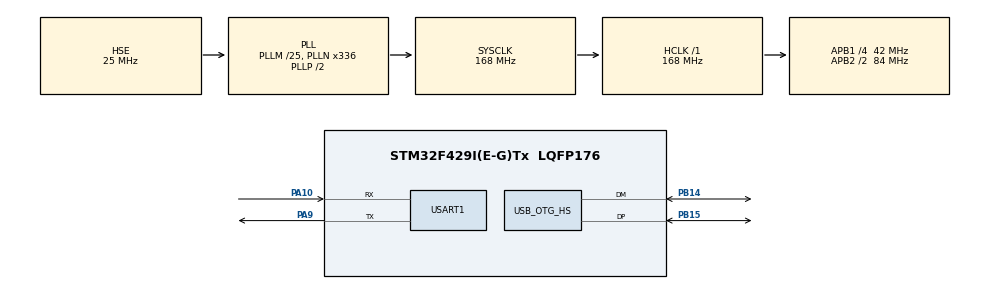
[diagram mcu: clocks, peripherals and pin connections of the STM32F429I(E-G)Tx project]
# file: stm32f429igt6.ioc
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Mcu.Family=STM32F4
Mcu.Name=STM32F429I(E-G)Tx
Mcu.Package=LQFP176
NVIC.OTG_HS_EP1_IN_IRQn=true\:0\:0\:false\:false\:true\:true\:true
NVIC.OTG_HS_EP1_OUT_IRQn=true\:0\:0\:false\:false\:true\:true\:true
NVIC.OTG_HS_IRQn=true\:0\:0\:false\:false\:true\:true\:true
NVIC.PriorityGroup=NVIC_PRIORITYGROUP_4
PA10.Mode=Asynchronous
PA10.Signal=USART1_RX
PA9.Mode=Asynchronous
PA9.Signal=USART1_TX
PB14.Mode=Device_Only_FS
PB14.Signal=USB_OTG_HS_DM
PB15.Mode=Device_Only_FS
PB15.Signal=USB_OTG_HS_DP
PH0/OSC_IN.Mode=HSE-External-Oscillator
PH0/OSC_IN.Signal=RCC_OSC_IN
PH1/OSC_OUT.Mode=HSE-External-Oscillator
PH1/OSC_OUT.Signal=RCC_OSC_OUT
ProjectManager.HeapSize=0x200
ProjectManager.StackSize=0x400
ProjectManager.TargetToolchain=MDK-ARM V5.27
RCC.48MHZClocksFreq_Value=48000000
RCC.AHBFreq_Value=168000000
RCC.APB1CLKDivider=RCC_HCLK_DIV4
RCC.APB1Freq_Value=42000000
RCC.APB1TimFreq_Value=84000000
RCC.APB2CLKDivider=RCC_HCLK_DIV2
RCC.APB2Freq_Value=84000000
RCC.APB2TimFreq_Value=168000000
RCC.CortexFreq_Value=168000000
RCC.HCLKFreq_Value=168000000
RCC.HSE_VALUE=25000000
RCC.HSI_VALUE=16000000
RCC.LSE_VALUE=32768
RCC.PLLM=25
RCC.PLLN=336
RCC.PLLQ=7
RCC.SYSCLKFreq_VALUE=168000000
RCC.SYSCLKSource=RCC_SYSCLKSOURCE_PLLCLK
RCC.VCOOutputFreq_Value=336000000
USART1.VirtualMode=VM_ASYNC
USB_OTG_HS.VirtualMode-Device_Only_FS=Device_Only_FS
board=custom

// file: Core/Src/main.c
/* USER CODE BEGIN Header */
/**
  ******************************************************************************
  * @file           : main.c
  * @brief          : Main program body
  ******************************************************************************
  * @attention
  *
  * <h2><center>&copy; Copyright (c) 2021 STMicroelectronics.
  * All rights reserved.</center></h2>
  *
  * This software component is licensed by ST under BSD 3-Clause license,
  * the "License"; You may not use this file except in compliance with the
  * License. You may obtain a copy of the License at:
  *                        opensource.org/licenses/BSD-3-Clause
  *
  ******************************************************************************
  */
/* USER CODE END Header */
#include "main.h"

/* USER CODE BEGIN Includes */
#include "usbd_core.h"
#include "usbd_cdc.h"
/* USER CODE END Includes */

UART_HandleTypeDef huart1;

PCD_HandleTypeDef hpcd_USB_OTG_HS;

void SystemClock_Config(void);
static void MX_GPIO_Init(void);
static void MX_USB_OTG_HS_PCD_Init(void);
static void MX_USART1_UART_Init(void);

/* USER CODE BEGIN 0 */
int fputc(int ch, FILE *f)
{

  HAL_UART_Transmit(&huart1,(uint8_t*)&ch,1,1000);
  return ch;
}

#define CDC_IN_EP  0x81
#define CDC_OUT_EP 0x01
#define CDC_INT_EP 0x82

#define USBD_VID           0xFFFF
#define USBD_PID           0xFFFF
#define USBD_MAX_POWER     100
#define USBD_LANGID_STRING 1033

#define USB_CONFIG_SIZE (9 + CDC_ACM_DESCRIPTOR_LEN)

const uint8_t cdc_descriptor[] = {
    USB_DEVICE_DESCRIPTOR_INIT(USB_2_0, 0x02, 0x02, 0x01, USBD_VID, USBD_PID, 0x0100, 0x01),
    USB_CONFIG_DESCRIPTOR_INIT(USB_CONFIG_SIZE, 0x02, 0x01, USB_CONFIG_BUS_POWERED, USBD_MAX_POWER),
    CDC_ACM_DESCRIPTOR_INIT(0x00, CDC_INT_EP, CDC_OUT_EP, CDC_IN_EP, 0x02),
    ///////////////////////////////////////
    /// string0 descriptor
    ///////////////////////////////////////
    USB_LANGID_INIT(USBD_LANGID_STRING),
    ///////////////////////////////////////
    /// string1 descriptor
    ///////////////////////////////////////
    0x12,                       /* bLength */
    USB_DESCRIPTOR_TYPE_STRING, /* bDescriptorType */
    'B', 0x00,                  /* wcChar0 */
    'o', 0x00,                  /* wcChar1 */
    'u', 0x00,                  /* wcChar2 */
    'f', 0x00,                  /* wcChar3 */
    'f', 0x00,                  /* wcChar4 */
    'a', 0x00,                  /* wcChar5 */
    'l', 0x00,                  /* wcChar6 */
    'o', 0x00,                  /* wcChar7 */
    ///////////////////////////////////////
    /// string2 descriptor
    ///////////////////////////////////////
    0x24,                       /* bLength */
    USB_DESCRIPTOR_TYPE_STRING, /* bDescriptorType */
    'B', 0x00,                  /* wcChar0 */
    'o', 0x00,                  /* wcChar1 */
    'u', 0x00,                  /* wcChar2 */
    'f', 0x00,                  /* wcChar3 */
    'f', 0x00,                  /* wcChar4 */
    'a', 0x00,                  /* wcChar5 */
    'l', 0x00,                  /* wcChar6 */
    'o', 0x00,                  /* wcChar7 */
    ' ', 0x00,                  /* wcChar8 */
    'C', 0x00,                  /* wcChar9 */
    'D', 0x00,                  /* wcChar10 */
    'C', 0x00,                  /* wcChar11 */
    ' ', 0x00,                  /* wcChar13 */
    'D', 0x00,                  /* wcChar14 */
    'E', 0x00,                  /* wcChar15 */
    'M', 0x00,                  /* wcChar16 */
    'O', 0x00,                  /* wcChar17 */
    ///////////////////////////////////////
    /// string3 descriptor
    ///////////////////////////////////////
    0x16,                       /* bLength */
    USB_DESCRIPTOR_TYPE_STRING, /* bDescriptorType */
    '2', 0x00,                  /* wcChar0 */
    '0', 0x00,                  /* wcChar1 */
    '2', 0x00,                  /* wcChar2 */
    '1', 0x00,                  /* wcChar3 */
    '0', 0x00,                  /* wcChar4 */
    '3', 0x00,                  /* wcChar5 */
    '1', 0x00,                  /* wcChar6 */
    '0', 0x00,                  /* wcChar7 */
    '0', 0x00,                  /* wcChar8 */
    '0', 0x00,                  /* wcChar9 */
#ifdef CONFIG_USB_HS
    ///////////////////////////////////////
    /// device qualifier descriptor
    ///////////////////////////////////////
    0x0a,
    USB_DESCRIPTOR_TYPE_DEVICE_QUALIFIER,
    0x00,
    0x02,
    0x02,
    0x02,
    0x01,
    0x40,
    0x01,
    0x00,
#endif
    0x00
};

usbd_class_t cdc_class;
usbd_interface_t cdc_cmd_intf;
usbd_interface_t cdc_data_intf;

void usbd_cdc_acm_out(uint8_t ep)
{
    uint8_t data[64];
    uint32_t read_byte;
    usbd_ep_read(ep,data,64,&read_byte);
    printf("out\r\n");
    printf("read len:%d\r\n",read_byte);
    usbd_ep_read(ep,NULL,0,NULL);
}

void usbd_cdc_acm_in(uint8_t ep)
{
    printf("in\r\n");
}

usbd_endpoint_t cdc_out_ep = {
    .ep_addr = CDC_OUT_EP,
    .ep_cb = usbd_cdc_acm_out
};

usbd_endpoint_t cdc_in_ep = {
    .ep_addr = CDC_IN_EP,
    .ep_cb = usbd_cdc_acm_in
};

extern void usb_dc_init(void);
/* USER CODE END 0 */

int main(void)
{

  /* MCU Configuration--------------------------------------------------------*/

  /* Reset of all peripherals, Initializes the Flash interface and the Systick. */
  HAL_Init();

  /* Configure the system clock */
  SystemClock_Config();

  /* Initialize all configured peripherals */
  MX_GPIO_Init();
  MX_USB_OTG_HS_PCD_Init();
  MX_USART1_UART_Init();
  /* USER CODE BEGIN 2 */
  usbd_desc_register(cdc_descriptor);
  usbd_cdc_add_acm_interface(&cdc_class, &cdc_cmd_intf);
  usbd_cdc_add_acm_interface(&cdc_class, &cdc_data_intf);
  usbd_interface_add_endpoint(&cdc_data_intf, &cdc_out_ep);
  usbd_interface_add_endpoint(&cdc_data_intf, &cdc_in_ep);

  usb_dc_init();

  /* USER CODE END 2 */

  /* Infinite loop */
  while (1)
  {

    /* USER CODE BEGIN 3 */
    uint8_t data_buffer[10] = { 0x31, 0x32, 0x33, 0x34, 0x35, 0x31, 0x32, 0x33, 0x34, 0x35 };
    usbd_ep_write(CDC_IN_EP, data_buffer, 10, NULL);
    HAL_Delay(500);
  }
  /* USER CODE END 3 */
}

void SystemClock_Config(void)
{
  RCC_OscInitTypeDef RCC_OscInitStruct = {0};
  RCC_ClkInitTypeDef RCC_ClkInitStruct = {0};

  /** Configure the main internal regulator output voltage
  */
  __HAL_RCC_PWR_CLK_ENABLE();
  __HAL_PWR_VOLTAGESCALING_CONFIG(PWR_REGULATOR_VOLTAGE_SCALE1);
  /** Initializes the RCC Oscillators according to the specified parameters
  * in the RCC_OscInitTypeDef structure.
  */
  RCC_OscInitStruct.OscillatorType = RCC_OSCILLATORTYPE_HSE;
  RCC_OscInitStruct.HSEState = RCC_HSE_ON;
  RCC_OscInitStruct.PLL.PLLState = RCC_PLL_ON;
  RCC_OscInitStruct.PLL.PLLSource = RCC_PLLSOURCE_HSE;
  RCC_OscInitStruct.PLL.PLLM = 25;
  RCC_OscInitStruct.PLL.PLLN = 336;
  RCC_OscInitStruct.PLL.PLLP = RCC_PLLP_DIV2;
  RCC_OscInitStruct.PLL.PLLQ = 7;
  if (HAL_RCC_OscConfig(&RCC_OscInitStruct) != HAL_OK)
  {
    Error_Handler();
  }
  /** Initializes the CPU, AHB and APB buses clocks
  */
  RCC_ClkInitStruct.ClockType = RCC_CLOCKTYPE_HCLK|RCC_CLOCKTYPE_SYSCLK
                              |RCC_CLOCKTYPE_PCLK1|RCC_CLOCKTYPE_PCLK2;
  RCC_ClkInitStruct.SYSCLKSource = RCC_SYSCLKSOURCE_PLLCLK;
  RCC_ClkInitStruct.AHBCLKDivider = RCC_SYSCLK_DIV1;
  RCC_ClkInitStruct.APB1CLKDivider = RCC_HCLK_DIV4;
  RCC_ClkInitStruct.APB2CLKDivider = RCC_HCLK_DIV2;

  if (HAL_RCC_ClockConfig(&RCC_ClkInitStruct, FLASH_LATENCY_5) != HAL_OK)
  {
    Error_Handler();
  }
}

static void MX_USART1_UART_Init(void)
{

  huart1.Instance = USART1;
  huart1.Init.BaudRate = 115200;
  huart1.Init.WordLength = UART_WORDLENGTH_8B;
  huart1.Init.StopBits = UART_STOPBITS_1;
  huart1.Init.Parity = UART_PARITY_NONE;
  huart1.Init.Mode = UART_MODE_TX_RX;
  huart1.Init.HwFlowCtl = UART_HWCONTROL_NONE;
  huart1.Init.OverSampling = UART_OVERSAMPLING_16;
  if (HAL_UART_Init(&huart1) != HAL_OK)
  {
    Error_Handler();
  }

}

static void MX_USB_OTG_HS_PCD_Init(void)
{

  hpcd_USB_OTG_HS.Instance = USB_OTG_HS;
  hpcd_USB_OTG_HS.Init.dev_endpoints = 6;
  hpcd_USB_OTG_HS.Init.speed = PCD_SPEED_FULL;
  hpcd_USB_OTG_HS.Init.dma_enable = DISABLE;
  hpcd_USB_OTG_HS.Init.phy_itface = USB_OTG_EMBEDDED_PHY;
  hpcd_USB_OTG_HS.Init.Sof_enable = DISABLE;
  hpcd_USB_OTG_HS.Init.low_power_enable = DISABLE;
  hpcd_USB_OTG_HS.Init.lpm_enable = DISABLE;
  hpcd_USB_OTG_HS.Init.vbus_sensing_enable = DISABLE;
  hpcd_USB_OTG_HS.Init.use_dedicated_ep1 = DISABLE;
  hpcd_USB_OTG_HS.Init.use_external_vbus = DISABLE;
  if (HAL_PCD_Init(&hpcd_USB_OTG_HS) != HAL_OK)
  {
    Error_Handler();
  }

}

static void MX_GPIO_Init(void)
{

  /* GPIO Ports Clock Enable */
  __HAL_RCC_GPIOH_CLK_ENABLE();
  __HAL_RCC_GPIOB_CLK_ENABLE();
  __HAL_RCC_GPIOA_CLK_ENABLE();

}

void Error_Handler(void)
{
  __disable_irq();
  while (1)
  {
  }
}

/************************ (C) COPYRIGHT STMicroelectronics *****END OF FILE****/
